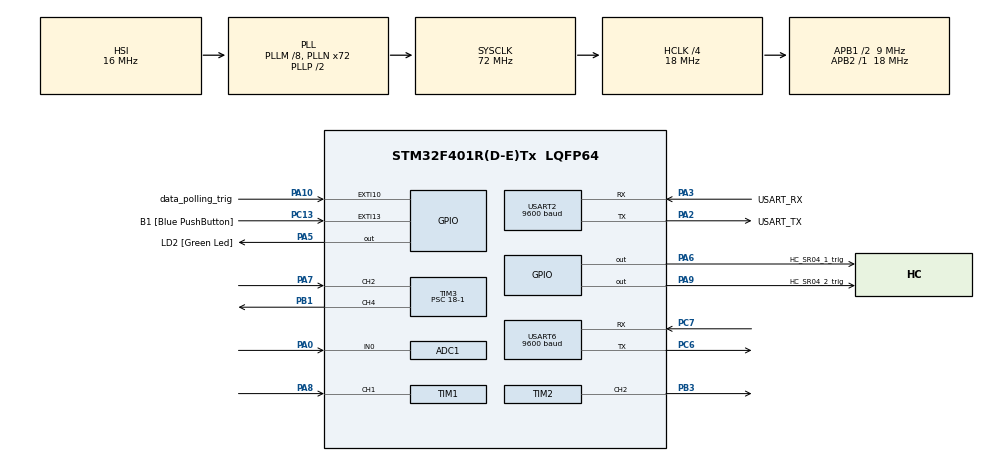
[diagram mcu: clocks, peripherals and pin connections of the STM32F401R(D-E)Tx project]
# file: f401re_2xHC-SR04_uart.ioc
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ADC1.Channel-0\#ChannelRegularConversion=ADC_CHANNEL_0
ADC1.NbrOfConversionFlag=1
ADC1.Rank-0\#ChannelRegularConversion=1
ADC1.SamplingTime-0\#ChannelRegularConversion=ADC_SAMPLETIME_3CYCLES
ADC1.master=1
Mcu.Family=STM32F4
Mcu.Name=STM32F401R(D-E)Tx
Mcu.Package=LQFP64
NVIC.EXTI15_10_IRQn=true\:2\:0\:true\:false\:true\:true\:true\:true
NVIC.PriorityGroup=NVIC_PRIORITYGROUP_2
NVIC.TIM1_CC_IRQn=true\:0\:0\:true\:false\:true\:true\:true\:true
NVIC.TIM3_IRQn=true\:0\:0\:true\:false\:true\:true\:true\:true
PA0-WKUP.Signal=ADCx_IN0
PA10.GPIO_Label=data_polling_trig
PA10.GPIO_PuPd=GPIO_PULLUP
PA10.Signal=GPXTI10
PA13.GPIO_Label=TMS
PA13.Mode=Serial_Wire
PA13.Signal=SYS_JTMS-SWDIO
PA14.GPIO_Label=TCK
PA14.Mode=Serial_Wire
PA14.Signal=SYS_JTCK-SWCLK
PA2.GPIO_Label=USART_TX
PA2.GPIO_Mode=GPIO_MODE_AF_PP
PA2.GPIO_PuPd=GPIO_NOPULL
PA2.GPIO_Speed=GPIO_SPEED_FREQ_LOW
PA2.Mode=Asynchronous
PA2.Signal=USART2_TX
PA3.GPIO_Label=USART_RX
PA3.GPIO_Mode=GPIO_MODE_AF_PP
PA3.GPIO_PuPd=GPIO_NOPULL
PA3.GPIO_Speed=GPIO_SPEED_FREQ_LOW
PA3.Mode=Asynchronous
PA3.Signal=USART2_RX
PA5.GPIO_Label=LD2 [Green Led]
PA5.GPIO_Mode=GPIO_MODE_OUTPUT_PP
PA5.GPIO_PuPd=GPIO_NOPULL
PA5.GPIO_Speed=GPIO_SPEED_FREQ_LOW
PA5.Signal=GPIO_Output
PA6.GPIO_Label=HC_SR04_1_trig
PA6.GPIO_PuPd=GPIO_PULLDOWN
PA6.Signal=GPIO_Output
PA7.Signal=S_TIM3_CH2
PA8.Signal=S_TIM1_CH1
PA9.GPIO_Label=HC_SR04_2_trig
PA9.GPIO_PuPd=GPIO_PULLDOWN
PA9.Signal=GPIO_Output
PB1.Signal=S_TIM3_CH4
PB3.Signal=S_TIM2_CH2
PC13-ANTI_TAMP.GPIO_Label=B1 [Blue PushButton]
PC13-ANTI_TAMP.GPIO_ModeDefaultEXTI=GPIO_MODE_IT_FALLING
PC13-ANTI_TAMP.GPIO_PuPd=GPIO_NOPULL
PC13-ANTI_TAMP.Signal=GPXTI13
PC14-OSC32_IN.Mode=LSE-External-Oscillator
PC14-OSC32_IN.Signal=RCC_OSC32_IN
PC15-OSC32_OUT.Mode=LSE-External-Oscillator
PC15-OSC32_OUT.Signal=RCC_OSC32_OUT
PC6.Mode=Asynchronous
PC6.Signal=USART6_TX
PC7.Mode=Asynchronous
PC7.Signal=USART6_RX
PH0\ -\ OSC_IN.Mode=HSE-External-Clock-Source
PH0\ -\ OSC_IN.Signal=RCC_OSC_IN
PH1\ -\ OSC_OUT.Mode=HSE-External-Clock-Source
PH1\ -\ OSC_OUT.Signal=RCC_OSC_OUT
ProjectManager.HeapSize=0x200
ProjectManager.StackSize=0x400
ProjectManager.TargetToolchain=STM32CubeIDE
RCC.48MHZClocksFreq_Value=20571428.57142857
RCC.AHBCLKDivider=RCC_SYSCLK_DIV4
RCC.AHBFreq_Value=18000000
RCC.APB1CLKDivider=RCC_HCLK_DIV2
RCC.APB1Freq_Value=9000000
RCC.APB1TimFreq_Value=18000000
RCC.APB2Freq_Value=18000000
RCC.APB2TimFreq_Value=18000000
RCC.CortexFreq_Value=18000000
RCC.HCLKFreq_Value=18000000
RCC.HSE_VALUE=8000000
RCC.HSI_VALUE=16000000
RCC.PLLM=8
RCC.PLLN=72
RCC.PLLQ=7
RCC.SYSCLKFreq_VALUE=72000000
RCC.SYSCLKSource=RCC_SYSCLKSOURCE_PLLCLK
RCC.VCOOutputFreq_Value=144000000
SH.ADCx_IN0.0=ADC1_IN0,IN0
SH.S_TIM1_CH1.0=TIM1_CH1,Input_Capture1_from_TI1
SH.S_TIM2_CH2.0=TIM2_CH2,PWM Generation2 CH2
SH.S_TIM3_CH2.0=TIM3_CH2,Input_Capture2_from_TI2
SH.S_TIM3_CH4.0=TIM3_CH4,PWM Generation4 CH4
TIM1.Channel-Input_Capture1_from_TI1=TIM_CHANNEL_1
TIM1.Period=65535-1
TIM1.Prescaler=18-1
TIM2.AutoReloadPreload=TIM_AUTORELOAD_PRELOAD_ENABLE
TIM2.Channel-PWM\ Generation2\ CH2=TIM_CHANNEL_2
TIM2.Period=20000-1
TIM2.Prescaler=18-1
TIM2.Pulse-PWM\ Generation2\ CH2=400
TIM3.AutoReloadPreload=TIM_AUTORELOAD_PRELOAD_ENABLE
TIM3.Channel-Input_Capture2_from_TI2=TIM_CHANNEL_2
TIM3.Channel-PWM\ Generation4\ CH4=TIM_CHANNEL_4
TIM3.Period=20000-1
TIM3.Prescaler=18-1
TIM3.Pulse-PWM\ Generation4\ CH4=1000
USART2.BaudRate=9600
USART2.VirtualMode=VM_ASYNC
USART6.BaudRate=9600
USART6.Mode=MODE_TX
USART6.VirtualMode=VM_ASYNC
VP_TIM3_VS_ClockSourceINT.Mode=Internal
board=NUCLEO-F401RE

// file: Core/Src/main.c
/* USER CODE BEGIN Header */
/**
 ******************************************************************************
 * @file           : main.c
 * @brief          : Main program body
 ******************************************************************************
 * @attention
 *
 * Copyright (c) 2022 STMicroelectronics.
 * All rights reserved.
 *
 * This software is licensed under terms that can be found in the LICENSE file
 * in the root directory of this software component.
 * If no LICENSE file comes with this software, it is provided AS-IS.
 *
 ******************************************************************************
 */
/* USER CODE END Header */
#include "main.h"

/* USER CODE BEGIN PTD */
typedef struct HCSR04 HCSR04;
struct HCSR04 {
	GPIO_TypeDef *TRIG_PORT;
	uint16_t TRIG_PIN;
	TIM_HandleTypeDef *htim;
	uint32_t TIM_Channel;
	uint32_t IC_Val1;
	uint32_t IC_Val2;
	uint8_t Is_First_Captured;  // is the first value captured ?
	volatile uint32_t Distance;
};

/* USER CODE END PTD */

 ADC_HandleTypeDef hadc1;

TIM_HandleTypeDef htim1;
TIM_HandleTypeDef htim2;
TIM_HandleTypeDef htim3;

UART_HandleTypeDef huart2;
UART_HandleTypeDef huart6;

/* USER CODE BEGIN PV */
HCSR04 sensor1;
HCSR04 sensor2;
uint8_t data[32];
uint8_t S1_status = 0;
uint8_t S2_status = 0;
uint8_t human_counter = 0;
uint8_t request_data = 0;
/* USER CODE END PV */

void SystemClock_Config(void);
static void MX_GPIO_Init(void);
static void MX_TIM3_Init(void);
static void MX_USART6_UART_Init(void);
static void MX_USART2_UART_Init(void);
static void MX_TIM1_Init(void);
static void MX_ADC1_Init(void);
static void MX_TIM2_Init(void);

/* USER CODE BEGIN 0 */
void HC_SR04_init(){
	sensor1.TRIG_PORT = HC_SR04_1_trig_GPIO_Port;
	sensor1.TRIG_PIN = HC_SR04_1_trig_Pin;
	sensor1.htim = &htim3;
	sensor1.TIM_Channel = TIM_CHANNEL_2;
	sensor1.IC_Val1 = 0;
	sensor1.IC_Val2 = 0;
	sensor1.Is_First_Captured = 0;
	sensor1.Distance = 0;

	sensor2.TRIG_PORT = HC_SR04_2_trig_GPIO_Port;
	sensor2.TRIG_PIN = HC_SR04_2_trig_Pin;
	sensor2.htim = &htim1;
	sensor2.TIM_Channel = TIM_CHANNEL_1;
	sensor2.IC_Val1 = 0;
	sensor2.IC_Val2 = 0;
	sensor2.Is_First_Captured = 0;
	sensor2.Distance = 0;
}
void notify(GPIO_PinState PinState){
	HAL_GPIO_WritePin(GPIOA, GPIO_PIN_0, GPIO_PIN_SET);
	HAL_GPIO_WritePin(GPIOA, GPIO_PIN_1, PinState);
	HAL_Delay(10);
	HAL_GPIO_WritePin(GPIOA, GPIO_PIN_0, GPIO_PIN_RESET);
}

void delay(TIM_HandleTypeDef *htim, uint16_t time) {
	__HAL_TIM_SET_COUNTER(htim, 0);
	while (__HAL_TIM_GET_COUNTER(htim) < time)
		;
}

// call back start here

void HAL_GPIO_EXTI_Callback(uint16_t GPIO_Pin)
{
	switch(GPIO_Pin){
		case data_polling_trig_Pin:
			//human_counter_status = '0';
			request_data = 1;
			HAL_GPIO_TogglePin(GPIOA, GPIO_PIN_5);
			break;
		case GPIO_PIN_8:
			//human_counter = '+';
			break;
		case GPIO_PIN_9:
			//human_counter = '-';
			break;
	}
}

void HAL_TIM_IC_CaptureCallback(TIM_HandleTypeDef *htim) {
	HCSR04 *sensor;
	switch((int)(htim->Instance)){
	    case (int)TIM3:
	    	sensor = &sensor1;
	      break;
	    case (int)TIM1:
	    	sensor = &sensor2;
	      break;
	    default:
	    	break;
	}
	if (sensor->Is_First_Captured == 0){ // if the first value is not captured
			sensor->IC_Val1 = HAL_TIM_ReadCapturedValue(htim,sensor->TIM_Channel); // read the first value
			sensor->Is_First_Captured = 1; // set the first captured as true
			// Now change the polarity to falling edge
			__HAL_TIM_SET_CAPTUREPOLARITY(htim,sensor->TIM_Channel,TIM_INPUTCHANNELPOLARITY_FALLING);
	}
	else{  // if the first is already captured
		sensor->IC_Val2 = HAL_TIM_ReadCapturedValue(htim,sensor->TIM_Channel); // read second value
		__HAL_TIM_SET_COUNTER(htim, 0);  // reset the counter
		sensor->Distance = ((sensor->IC_Val2 - sensor->IC_Val1)* (sensor->IC_Val2 > sensor->IC_Val1)
							+ ((0xffff - sensor->IC_Val1) + sensor->IC_Val2)* (sensor->IC_Val1 > sensor->IC_Val2))
							* .034/ 2;
		sensor->Is_First_Captured = 0; // set it back to false
		// set polarity to rising edge
		__HAL_TIM_SET_CAPTUREPOLARITY(htim,sensor->TIM_Channel,TIM_INPUTCHANNELPOLARITY_RISING);
		__HAL_TIM_DISABLE_IT(sensor->htim, TIM_IT_CC1);
	}
}
void HCSR04_Read(HCSR04 *sensor) {
	HAL_GPIO_WritePin(sensor->TRIG_PORT, sensor->TRIG_PIN, GPIO_PIN_SET); // pull the TRIG pin HIGH
	delay(sensor->htim, 10);  // wait for 10 us
	HAL_GPIO_WritePin(sensor->TRIG_PORT, sensor->TRIG_PIN, GPIO_PIN_RESET); // pull the TRIG pin low

	__HAL_TIM_ENABLE_IT(sensor->htim, TIM_IT_CC1);
	//__HAL_TIM_ENABLE_IT(&htim3, TIM_IT_CC1);
}
/* USER CODE END 0 */

int main(void)
{

  /* MCU Configuration--------------------------------------------------------*/

  /* Reset of all peripherals, Initializes the Flash interface and the Systick. */
  HAL_Init();

  /* Configure the system clock */
  SystemClock_Config();

  /* Initialize all configured peripherals */
  MX_GPIO_Init();
  MX_TIM3_Init();
  MX_USART6_UART_Init();
  MX_USART2_UART_Init();
  MX_TIM1_Init();
  MX_ADC1_Init();
  MX_TIM2_Init();
  /* USER CODE BEGIN 2 */
  HC_SR04_init();
  HAL_TIM_IC_Start_IT(&htim1, TIM_CHANNEL_1);
  HAL_TIM_IC_Start_IT(&htim3, TIM_CHANNEL_2);
  HAL_TIM_PWM_Start(&htim3, TIM_CHANNEL_4);
  HAL_TIM_PWM_Start(&htim2, TIM_CHANNEL_2);
  int32_t human_counter = 0;
  uint8_t sensor1_current_state = 0;
  uint8_t sensor1_previous_state = 0;
  uint8_t sensor2_current_state = 0;
  uint8_t sensor2_previous_state = 0;
  int8_t dummy_value = 0;
  uint8_t increment = 0;
  uint8_t decrement = 0;
  uint32_t adc_value = 0;
  /* USER CODE END 2 */

  /* Infinite loop */
  while (1) {

    /* USER CODE BEGIN 3 */
	  // HCSR04_section
	HCSR04_Read(&sensor2);
		HAL_Delay(25);
		HCSR04_Read(&sensor1);
		HAL_Delay(25);
		sensor2_current_state = (sensor2.Distance < 30);
		sensor1_current_state = (sensor1.Distance < 30);
		increment =
				(!sensor1_previous_state && !sensor2_previous_state && !sensor1_current_state && sensor2_current_state)
				||
				(!sensor1_previous_state && sensor2_previous_state && sensor1_current_state && !sensor2_current_state)
				||
				(sensor1_previous_state && !sensor2_previous_state && !sensor1_current_state && !sensor2_current_state );
		decrement =
				(!sensor1_previous_state && !sensor2_previous_state && sensor1_current_state && !sensor2_current_state)
				||
				(sensor1_previous_state && !sensor2_previous_state && !sensor1_current_state && sensor2_current_state)
				||
				(!sensor1_previous_state && sensor2_previous_state && !sensor1_current_state && !sensor2_current_state );
		dummy_value = dummy_value + increment - decrement;
		if(dummy_value == 3){
			dummy_value = 0;
			human_counter++;
			//HAL_UART_Transmit(&huart2, data,sprintf(data,"%d %d state: %d %d %d\n", sensor1.Distance, sensor2.Distance, sensor1_current_state,sensor2_current_state,human_counter),100);
			//HAL_UART_Transmit(&huart6, data,sprintf(data,"+"),100);
			HAL_GPIO_WritePin(GPIOC, GPIO_PIN_0, GPIO_PIN_SET);
			HAL_GPIO_WritePin(GPIOC, GPIO_PIN_0, GPIO_PIN_RESET);
		}
		if(dummy_value == -3){
			dummy_value = 0;
			human_counter -= (human_counter != 0);
			//HAL_UART_Transmit(&huart2, data,sprintf(data,"%d %d state: %d %d %d\n", sensor1.Distance, sensor2.Distance, sensor1_current_state,sensor2_current_state,human_counter),100);
			//HAL_UART_Transmit(&huart6, data,sprintf(data,"-"),100);
			HAL_GPIO_WritePin(GPIOC, GPIO_PIN_1, GPIO_PIN_SET);
			HAL_GPIO_WritePin(GPIOC, GPIO_PIN_1, GPIO_PIN_RESET);
		}

		if((sensor1_previous_state != sensor1_current_state || sensor2_previous_state != sensor2_current_state) && !(sensor2_current_state && sensor1_current_state)){
		sensor1_previous_state = sensor1_current_state;
		sensor2_previous_state = sensor2_current_state;
		}
		HAL_UART_Transmit(&huart2, data,sprintf(data,"%d %d state: %d %d %d\n", sensor1.Distance, sensor2.Distance, sensor1_current_state,sensor2_current_state,human_counter),100);
		// LDR_section
		HAL_ADC_Start(&hadc1);
		if (HAL_ADC_PollForConversion(&hadc1, 1000) == HAL_OK) {
			adc_value = HAL_ADC_GetValue(&hadc1);
		}
		HAL_UART_Transmit(&huart2, &data, sprintf(data, "%d\n",adc_value), 100);
		if(request_data){
		HAL_UART_Transmit(&huart6, &data, sprintf(data, (S1_status)? "S1:n\n" : "S1:f\n"), 50);
		HAL_UART_Transmit(&huart6, &data, sprintf(data, (S2_status)? "S2:n\n" : "S2:f\n"), 50);
		HAL_UART_Transmit(&huart6, &data, sprintf(data,"%d\n",human_counter), 50);
		request_data = 0;
		}
		if(adc_value > 2000){
			htim3.Instance->CCR4 = 400;
			htim2.Instance->CCR2 = 400;
			S1_status = 0;
			S2_status = 0;
		}
		else  if (adc_value < 2100) {
				if(human_counter == 0){
					htim3.Instance->CCR4 = 400;
					htim2.Instance->CCR2 = 400;
					S1_status = 0;S2_status = 0;
				}else if(human_counter > 0 && human_counter < 3){
					htim3.Instance->CCR4 = 2400;
					htim2.Instance->CCR2 = 400;
					S1_status = 1;S2_status = 0;
				}else{
					htim3.Instance->CCR4 = 2400;
					htim2.Instance->CCR2 = 2400;
					S1_status = 1;S2_status = 1;
			}
		}

  }
  /* USER CODE END 3 */
}

void SystemClock_Config(void)
{
  RCC_OscInitTypeDef RCC_OscInitStruct = {0};
  RCC_ClkInitTypeDef RCC_ClkInitStruct = {0};

  /** Configure the main internal regulator output voltage
  */
  __HAL_RCC_PWR_CLK_ENABLE();
  __HAL_PWR_VOLTAGESCALING_CONFIG(PWR_REGULATOR_VOLTAGE_SCALE2);

  /** Initializes the RCC Oscillators according to the specified parameters
  * in the RCC_OscInitTypeDef structure.
  */
  RCC_OscInitStruct.OscillatorType = RCC_OSCILLATORTYPE_HSI;
  RCC_OscInitStruct.HSIState = RCC_HSI_ON;
  RCC_OscInitStruct.HSICalibrationValue = RCC_HSICALIBRATION_DEFAULT;
  RCC_OscInitStruct.PLL.PLLState = RCC_PLL_ON;
  RCC_OscInitStruct.PLL.PLLSource = RCC_PLLSOURCE_HSI;
  RCC_OscInitStruct.PLL.PLLM = 8;
  RCC_OscInitStruct.PLL.PLLN = 72;
  RCC_OscInitStruct.PLL.PLLP = RCC_PLLP_DIV2;
  RCC_OscInitStruct.PLL.PLLQ = 7;
  if (HAL_RCC_OscConfig(&RCC_OscInitStruct) != HAL_OK)
  {
    Error_Handler();
  }

  /** Initializes the CPU, AHB and APB buses clocks
  */
  RCC_ClkInitStruct.ClockType = RCC_CLOCKTYPE_HCLK|RCC_CLOCKTYPE_SYSCLK
                              |RCC_CLOCKTYPE_PCLK1|RCC_CLOCKTYPE_PCLK2;
  RCC_ClkInitStruct.SYSCLKSource = RCC_SYSCLKSOURCE_PLLCLK;
  RCC_ClkInitStruct.AHBCLKDivider = RCC_SYSCLK_DIV4;
  RCC_ClkInitStruct.APB1CLKDivider = RCC_HCLK_DIV2;
  RCC_ClkInitStruct.APB2CLKDivider = RCC_HCLK_DIV1;

  if (HAL_RCC_ClockConfig(&RCC_ClkInitStruct, FLASH_LATENCY_0) != HAL_OK)
  {
    Error_Handler();
  }
}

static void MX_ADC1_Init(void)
{

  ADC_ChannelConfTypeDef sConfig = {0};

  /** Configure the global features of the ADC (Clock, Resolution, Data Alignment and number of conversion)
  */
  hadc1.Instance = ADC1;
  hadc1.Init.ClockPrescaler = ADC_CLOCK_SYNC_PCLK_DIV2;
  hadc1.Init.Resolution = ADC_RESOLUTION_12B;
  hadc1.Init.ScanConvMode = DISABLE;
  hadc1.Init.ContinuousConvMode = DISABLE;
  hadc1.Init.DiscontinuousConvMode = DISABLE;
  hadc1.Init.ExternalTrigConvEdge = ADC_EXTERNALTRIGCONVEDGE_NONE;
  hadc1.Init.ExternalTrigConv = ADC_SOFTWARE_START;
  hadc1.Init.DataAlign = ADC_DATAALIGN_RIGHT;
  hadc1.Init.NbrOfConversion = 1;
  hadc1.Init.DMAContinuousRequests = DISABLE;
  hadc1.Init.EOCSelection = ADC_EOC_SINGLE_CONV;
  if (HAL_ADC_Init(&hadc1) != HAL_OK)
  {
    Error_Handler();
  }

  /** Configure for the selected ADC regular channel its corresponding rank in the sequencer and its sample time.
  */
  sConfig.Channel = ADC_CHANNEL_0;
  sConfig.Rank = 1;
  sConfig.SamplingTime = ADC_SAMPLETIME_3CYCLES;
  if (HAL_ADC_ConfigChannel(&hadc1, &sConfig) != HAL_OK)
  {
    Error_Handler();
  }

}

static void MX_TIM1_Init(void)
{

  TIM_MasterConfigTypeDef sMasterConfig = {0};
  TIM_IC_InitTypeDef sConfigIC = {0};

  htim1.Instance = TIM1;
  htim1.Init.Prescaler = 18-1;
  htim1.Init.CounterMode = TIM_COUNTERMODE_UP;
  htim1.Init.Period = 65535-1;
  htim1.Init.ClockDivision = TIM_CLOCKDIVISION_DIV1;
  htim1.Init.RepetitionCounter = 0;
  htim1.Init.AutoReloadPreload = TIM_AUTORELOAD_PRELOAD_DISABLE;
  if (HAL_TIM_IC_Init(&htim1) != HAL_OK)
  {
    Error_Handler();
  }
  sMasterConfig.MasterOutputTrigger = TIM_TRGO_RESET;
  sMasterConfig.MasterSlaveMode = TIM_MASTERSLAVEMODE_DISABLE;
  if (HAL_TIMEx_MasterConfigSynchronization(&htim1, &sMasterConfig) != HAL_OK)
  {
    Error_Handler();
  }
  sConfigIC.ICPolarity = TIM_INPUTCHANNELPOLARITY_RISING;
  sConfigIC.ICSelection = TIM_ICSELECTION_DIRECTTI;
  sConfigIC.ICPrescaler = TIM_ICPSC_DIV1;
  sConfigIC.ICFilter = 0;
  if (HAL_TIM_IC_ConfigChannel(&htim1, &sConfigIC, TIM_CHANNEL_1) != HAL_OK)
  {
    Error_Handler();
  }

}

static void MX_TIM2_Init(void)
{

  TIM_MasterConfigTypeDef sMasterConfig = {0};
  TIM_OC_InitTypeDef sConfigOC = {0};

  htim2.Instance = TIM2;
  htim2.Init.Prescaler = 18-1;
  htim2.Init.CounterMode = TIM_COUNTERMODE_UP;
  htim2.Init.Period = 20000-1;
  htim2.Init.ClockDivision = TIM_CLOCKDIVISION_DIV1;
  htim2.Init.AutoReloadPreload = TIM_AUTORELOAD_PRELOAD_ENABLE;
  if (HAL_TIM_PWM_Init(&htim2) != HAL_OK)
  {
    Error_Handler();
  }
  sMasterConfig.MasterOutputTrigger = TIM_TRGO_RESET;
  sMasterConfig.MasterSlaveMode = TIM_MASTERSLAVEMODE_DISABLE;
  if (HAL_TIMEx_MasterConfigSynchronization(&htim2, &sMasterConfig) != HAL_OK)
  {
    Error_Handler();
  }
  sConfigOC.OCMode = TIM_OCMODE_PWM1;
  sConfigOC.Pulse = 400;
  sConfigOC.OCPolarity = TIM_OCPOLARITY_HIGH;
  sConfigOC.OCFastMode = TIM_OCFAST_DISABLE;
  if (HAL_TIM_PWM_ConfigChannel(&htim2, &sConfigOC, TIM_CHANNEL_2) != HAL_OK)
  {
    Error_Handler();
  }
  HAL_TIM_MspPostInit(&htim2);

}

static void MX_TIM3_Init(void)
{

  TIM_ClockConfigTypeDef sClockSourceConfig = {0};
  TIM_MasterConfigTypeDef sMasterConfig = {0};
  TIM_IC_InitTypeDef sConfigIC = {0};
  TIM_OC_InitTypeDef sConfigOC = {0};

  htim3.Instance = TIM3;
  htim3.Init.Prescaler = 18-1;
  htim3.Init.CounterMode = TIM_COUNTERMODE_UP;
  htim3.Init.Period = 20000-1;
  htim3.Init.ClockDivision = TIM_CLOCKDIVISION_DIV1;
  htim3.Init.AutoReloadPreload = TIM_AUTORELOAD_PRELOAD_ENABLE;
  if (HAL_TIM_Base_Init(&htim3) != HAL_OK)
  {
    Error_Handler();
  }
  sClockSourceConfig.ClockSource = TIM_CLOCKSOURCE_INTERNAL;
  if (HAL_TIM_ConfigClockSource(&htim3, &sClockSourceConfig) != HAL_OK)
  {
    Error_Handler();
  }
  if (HAL_TIM_IC_Init(&htim3) != HAL_OK)
  {
    Error_Handler();
  }
  if (HAL_TIM_PWM_Init(&htim3) != HAL_OK)
  {
    Error_Handler();
  }
  sMasterConfig.MasterOutputTrigger = TIM_TRGO_RESET;
  sMasterConfig.MasterSlaveMode = TIM_MASTERSLAVEMODE_DISABLE;
  if (HAL_TIMEx_MasterConfigSynchronization(&htim3, &sMasterConfig) != HAL_OK)
  {
    Error_Handler();
  }
  sConfigIC.ICPolarity = TIM_INPUTCHANNELPOLARITY_RISING;
  sConfigIC.ICSelection = TIM_ICSELECTION_DIRECTTI;
  sConfigIC.ICPrescaler = TIM_ICPSC_DIV1;
  sConfigIC.ICFilter = 0;
  if (HAL_TIM_IC_ConfigChannel(&htim3, &sConfigIC, TIM_CHANNEL_2) != HAL_OK)
  {
    Error_Handler();
  }
  sConfigOC.OCMode = TIM_OCMODE_PWM1;
  sConfigOC.Pulse = 1000;
  sConfigOC.OCPolarity = TIM_OCPOLARITY_HIGH;
  sConfigOC.OCFastMode = TIM_OCFAST_DISABLE;
  if (HAL_TIM_PWM_ConfigChannel(&htim3, &sConfigOC, TIM_CHANNEL_4) != HAL_OK)
  {
    Error_Handler();
  }
  HAL_TIM_MspPostInit(&htim3);

}

static void MX_USART2_UART_Init(void)
{

  huart2.Instance = USART2;
  huart2.Init.BaudRate = 9600;
  huart2.Init.WordLength = UART_WORDLENGTH_8B;
  huart2.Init.StopBits = UART_STOPBITS_1;
  huart2.Init.Parity = UART_PARITY_NONE;
  huart2.Init.Mode = UART_MODE_TX_RX;
  huart2.Init.HwFlowCtl = UART_HWCONTROL_NONE;
  huart2.Init.OverSampling = UART_OVERSAMPLING_16;
  if (HAL_UART_Init(&huart2) != HAL_OK)
  {
    Error_Handler();
  }

}

static void MX_USART6_UART_Init(void)
{

  huart6.Instance = USART6;
  huart6.Init.BaudRate = 9600;
  huart6.Init.WordLength = UART_WORDLENGTH_8B;
  huart6.Init.StopBits = UART_STOPBITS_1;
  huart6.Init.Parity = UART_PARITY_NONE;
  huart6.Init.Mode = UART_MODE_TX;
  huart6.Init.HwFlowCtl = UART_HWCONTROL_NONE;
  huart6.Init.OverSampling = UART_OVERSAMPLING_16;
  if (HAL_UART_Init(&huart6) != HAL_OK)
  {
    Error_Handler();
  }

}

static void MX_GPIO_Init(void)
{
  GPIO_InitTypeDef GPIO_InitStruct = {0};

  /* GPIO Ports Clock Enable */
  __HAL_RCC_GPIOC_CLK_ENABLE();
  __HAL_RCC_GPIOH_CLK_ENABLE();
  __HAL_RCC_GPIOA_CLK_ENABLE();
  __HAL_RCC_GPIOB_CLK_ENABLE();

  /*Configure GPIO pin Output Level */
  HAL_GPIO_WritePin(GPIOA, LD2_Pin|HC_SR04_1_trig_Pin|HC_SR04_2_trig_Pin, GPIO_PIN_RESET);

  /*Configure GPIO pin : B1_Pin */
  GPIO_InitStruct.Pin = B1_Pin;
  GPIO_InitStruct.Mode = GPIO_MODE_IT_FALLING;
  GPIO_InitStruct.Pull = GPIO_NOPULL;
  HAL_GPIO_Init(B1_GPIO_Port, &GPIO_InitStruct);

  /*Configure GPIO pin : LD2_Pin */
  GPIO_InitStruct.Pin = LD2_Pin;
  GPIO_InitStruct.Mode = GPIO_MODE_OUTPUT_PP;
  GPIO_InitStruct.Pull = GPIO_NOPULL;
  GPIO_InitStruct.Speed = GPIO_SPEED_FREQ_LOW;
  HAL_GPIO_Init(LD2_GPIO_Port, &GPIO_InitStruct);

  /*Configure GPIO pins : HC_SR04_1_trig_Pin HC_SR04_2_trig_Pin */
  GPIO_InitStruct.Pin = HC_SR04_1_trig_Pin|HC_SR04_2_trig_Pin;
  GPIO_InitStruct.Mode = GPIO_MODE_OUTPUT_PP;
  GPIO_InitStruct.Pull = GPIO_PULLDOWN;
  GPIO_InitStruct.Speed = GPIO_SPEED_FREQ_LOW;
  HAL_GPIO_Init(GPIOA, &GPIO_InitStruct);

  /*Configure GPIO pin : data_polling_trig_Pin */
  GPIO_InitStruct.Pin = data_polling_trig_Pin;
  GPIO_InitStruct.Mode = GPIO_MODE_IT_RISING;
  GPIO_InitStruct.Pull = GPIO_PULLUP;
  HAL_GPIO_Init(data_polling_trig_GPIO_Port, &GPIO_InitStruct);

  /* EXTI interrupt init*/
  HAL_NVIC_SetPriority(EXTI15_10_IRQn, 2, 0);
  HAL_NVIC_EnableIRQ(EXTI15_10_IRQn);

}

void Error_Handler(void)
{
	__disable_irq();
	while (1) {
	}
}
